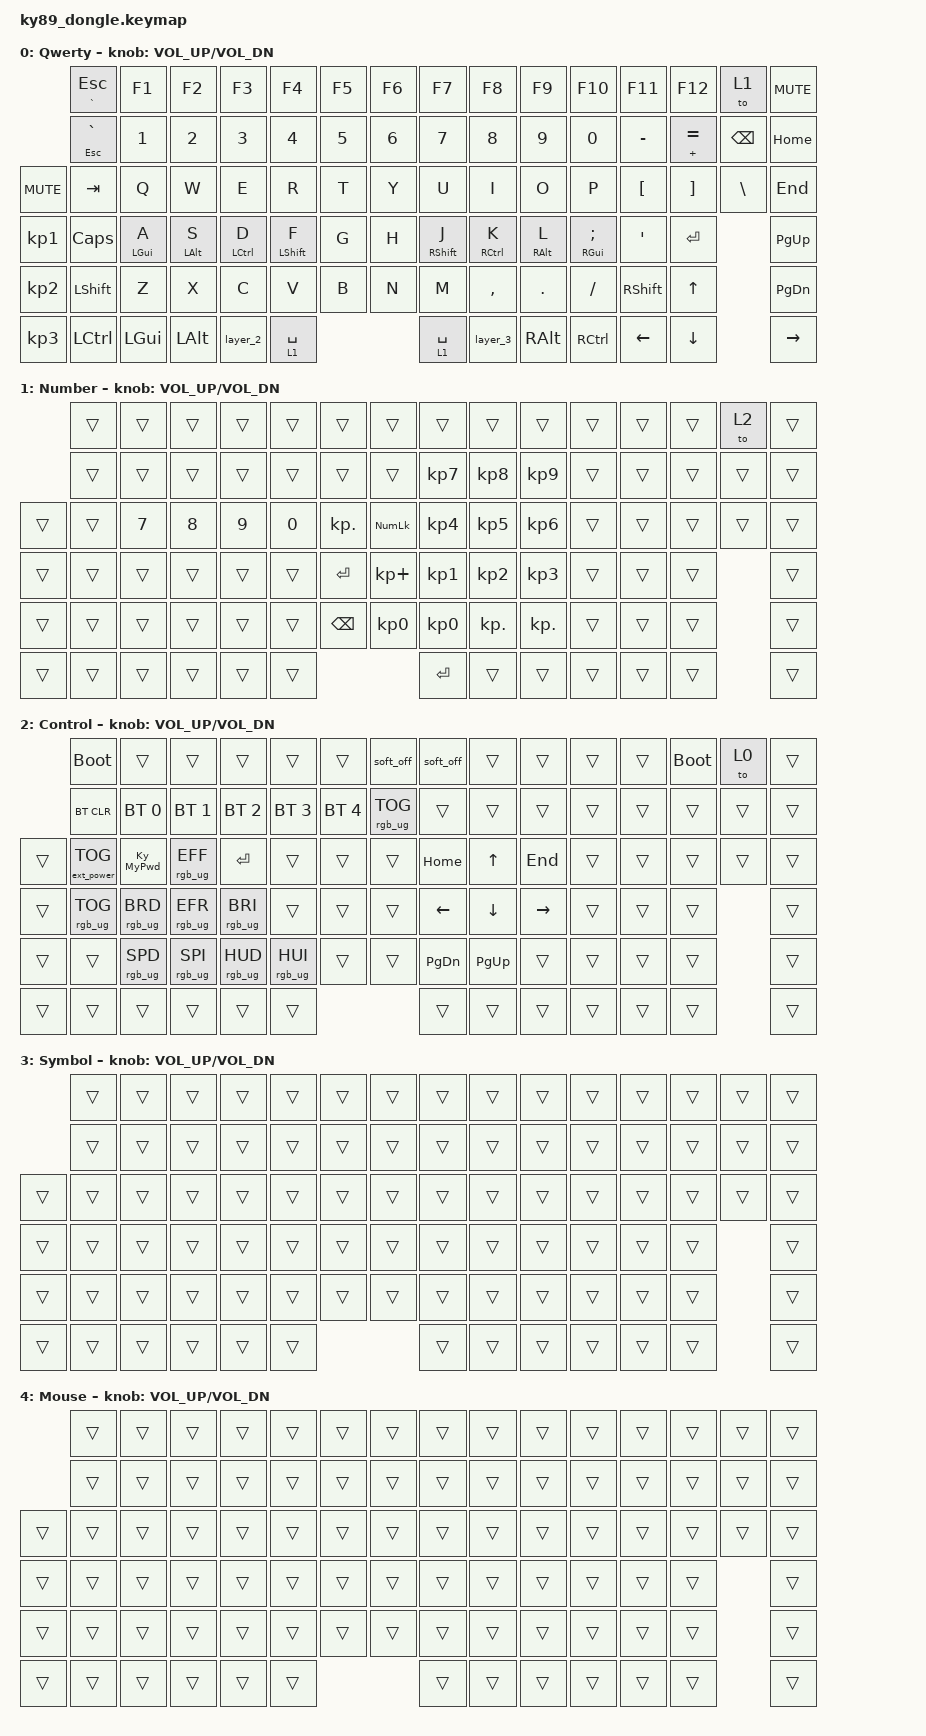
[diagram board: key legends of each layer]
/*
 * Copyright (c) 2023 The ZMK Contributors
 *
 * SPDX-License-Identifier: MIT
 */

#include <behaviors.dtsi>
#include <dt-bindings/zmk/keys.h>
#include <dt-bindings/zmk/bt.h>
#include <dt-bindings/zmk/ext_power.h>
#include <dt-bindings/zmk/rgb.h>

/ {

    macros {

        Ky_MyPwd: Ky_MyPwd {
            label = "Ky_MyPwd";
            compatible = "zmk,behavior-macro";
            #binding-cells = <0>;
            wait-ms = <0>;
            tap-ms = <0>;
            bindings =
                <&kp N0>,
                <&kp N1>,
                <&kp N2>,
                <&kp N3>,
                <&kp N4>,
                <&kp N5>;
        };

        
        layer_1: layer_1 {
            label = "layer 1";
            compatible = "zmk,behavior-macro";
            #binding-cells = <0>;
            wait-ms = <0>;
            tap-ms = <0>;
            bindings =
                <&macro_press>,
                <&ltq 1 SPACE>,
                <&macro_tap>,
                <&rgb_ug RGB_COLOR_HSB(0,100,100)>,
                <&macro_pause_for_release>,
                <&macro_release>,
                <&lt 1 SPACE>,
                <&macro_tap>,
                <&rgb_ug RGB_COLOR_HSB(180,40,70)>;
        };

        layer_2: layer_2 {
            label = "layer 2";
            compatible = "zmk,behavior-macro";
            #binding-cells = <0>;
            wait-ms = <0>;
            tap-ms = <0>;
            bindings =
                <&macro_press>,
                <&ltq 2 DEL>,
                <&macro_tap>,
                <&rgb_ug RGB_COLOR_HSB(120,100,100)>,
                <&macro_pause_for_release>,
                <&macro_release>,
                <&ltq 2 DEL>,
                <&macro_tap>,
                <&rgb_ug RGB_COLOR_HSB(180,40,70)>;
        };

        layer_3: layer_3 {
            label = "layer 3";
            compatible = "zmk,behavior-macro";
            #binding-cells = <0>;
            wait-ms = <0>;
            tap-ms = <0>;
            bindings =
                <&macro_press>,
                <&ltq 3 INS>,
                <&macro_tap>,
                <&rgb_ug RGB_COLOR_HSB(0,100,50)>,
                <&macro_pause_for_release>,
                <&macro_release>,
                <&ltq 3 INS>,
                <&macro_tap>,
                <&rgb_ug RGB_COLOR_HSB(180,40,70)>;
        };

        layer_4: layer_4 {
            label = "layer 4";
            compatible = "zmk,behavior-macro";
            #binding-cells = <0>;
            wait-ms = <0>;
            tap-ms = <0>;
            bindings =
                <&macro_press>,
                <&lt 4 T>,
                <&macro_tap>,
                <&rgb_ug RGB_COLOR_HSB(60,100,100)>,
                <&macro_pause_for_release>,
                <&macro_release>,
                <&lt 4 T>,
                <&macro_tap>,
                <&rgb_ug RGB_COLOR_HSB(180,40,70)>;
        };
        layer_5: layer_5 {
            label = "layer 5";
            compatible = "zmk,behavior-macro";
            #binding-cells = <0>;
            wait-ms = <0>;
            tap-ms = <0>;
            bindings =
                <&macro_press>,
                <&lt 5 T>,
                <&macro_tap>,
                <&rgb_ug RGB_COLOR_HSB(300,100,100)>,
                <&macro_pause_for_release>,
                <&macro_release>,
                <&lt 5 T>,
                <&macro_tap>,
                <&rgb_ug RGB_COLOR_HSB(180,40,70)>;
        };
        layer_6: layer_6 {
            label = "layer 6";
            compatible = "zmk,behavior-macro";
            #binding-cells = <0>;
            wait-ms = <0>;
            tap-ms = <0>;
            bindings =
                <&macro_press>,
                <&lt 6 T>,
                <&macro_tap>,
                <&rgb_ug RGB_COLOR_HSB(180,100,100)>,
                <&macro_pause_for_release>,
                <&macro_release>,
                <&lt 6 T>,
                <&macro_tap>,
                <&rgb_ug RGB_COLOR_HSB(180,40,70)>;
        };
    };

    behaviors {
        hm: homerow_mods {
            compatible = "zmk,behavior-hold-tap";
            #binding-cells = <2>;
            tapping-term-ms = <200>;
            quick-tap-ms = <0>;
            flavor = "tap-preferred";
            bindings = <&kp>, <&kp>;
            label = "HOMEROW_MODS";
        };

        ltq: ltq {
            compatible = "zmk,behavior-hold-tap";
            label = "LTQ";
            bindings = <&mo>, <&kp>;

            #binding-cells = <2>;
            tapping-term-ms = <200>;
            quick-tap-ms = <180>;
        };

        as: auto_shift {
            compatible = "zmk,behavior-hold-tap";
            #binding-cells = <2>;
            tapping-term-ms = <200>;
            quick-tap-ms = <0>;
            label = "AUTO_SHIFT";
            flavor = "tap-preferred";
            bindings = <&kp>, <&kp>;
        };

        rgb_encoder: rgb_encoder {
            compatible = "zmk,behavior-sensor-rotate";
            label = "RGB_ENCODER";
            #sensor-binding-cells = <0>;
            bindings = <&rgb_ug RGB_BRI>, <&rgb_ug RGB_BRD>;
        };
    };

    combos {
        compatible = "zmk,combos";

        esc {
            bindings = <&kp ESCAPE>;
            key-positions = <0 1>;
        };

        left_bkt {
            bindings = <&kp LEFT_BRACKET>;
            key-positions = <3 4>;
        };

        right_bkt {
            bindings = <&kp RIGHT_BRACKET>;
            key-positions = <9 8>;
        };

        left_par {
            bindings = <&kp LEFT_PARENTHESIS>;
            key-positions = <16 17>;
        };

        right_par {
            bindings = <&kp RIGHT_PARENTHESIS>;
            key-positions = <21 22>;
        };

        left_brace {
            bindings = <&kp LEFT_BRACE>;
            key-positions = <29 30>;
        };

        right_brace {
            bindings = <&kp RIGHT_BRACE>;
            key-positions = <34 35>;
        };

        bac {
            bindings = <&kp NON_US_BACKSLASH>;
            key-positions = <5 7>;
        };

        pipe {
            bindings = <&kp PIPE>;
            key-positions = <18 20>;
        };
    };

    keymap {
        compatible = "zmk,keymap";

        qwerty_layer {
//  ---------------------------------------------------------------------------------
//  |      |as GRAVE ESC|F1      |F2      |F3       |F4         |F5  |F6  |    |F7  |F8         |F9       |F10     |F11        |F12         |&to 1|    |C_MUTE|
//  |      |as ESC GRAVE|N1      |N2      |N3       |N4         |N5  |N6  |    |N7  |N8         |N9       |N0      |MINUS      |A_PLUS EQUAL|BSPC |    |HOME  |
//  |C_MUTE|TAB         |Q       |W       |E        |R          |T   |    |    |Y   |U          |I        |O       |P          |LBKT        |RBKT |BSLH|END   |
//  |1     |CAPS        |H_LGUI A|H_LALT S|H_LCTRL D|H_LSHF F   |G   |    |    |H   |H_RSHF J   |H_RCTRL K|H_RALT L|H_RGUI SEMI|SQT         |ENTER|    |PG_UP |
//  |2     |LSHIFT      |Z       |X       |C        |V          |B   |    |    |N   |M          |COMMA    |DOT     |FSLH       |RSHIFT      |UP   |    |PG_DN |
//  |3     |LCTRL       |LGUI    |LALT    |&lt 2 DEL|&lt 1 SPACE|    |    |    |    |&lt 1 SPACE|&lt 3 INS|RALT    |RCTRL      |LEFT        |DOWN |    |RIGHT |



            bindings = <
            &as GRAVE ESC  &kp F1      &kp F2      &kp F3       &kp F4       &kp F5  &kp F6          &kp F7  &kp F8       &kp F9       &kp F10     &kp F11        &kp F12         &to 1                &kp C_MUTE  
            &as ESC GRAVE  &kp N1      &kp N2      &kp N3       &kp N4       &kp N5  &kp N6          &kp N7  &kp N8       &kp N9       &kp N0      &kp MINUS      &as PLUS EQUAL  &kp BSPC             &kp HOME    
&kp C_MUTE  &kp TAB       &kp Q       &kp W       &kp E        &kp R        &kp T                   &kp Y   &kp U        &kp I        &kp O       &kp P          &kp LBKT        &kp RBKT   &kp BSLH  &kp END     
&kp KP_N1   &kp CAPS      &hm LGUI A  &hm LALT S  &hm LCTRL D  &hm LSHFT F   &kp G                   &kp H   &hm RSHFT J   &hm RCTRL K  &hm RALT L  &hm RGUI SEMI  &kp SQT         &kp ENTER            &kp PG_UP   &kp KP_N2   &kp LSHIFT    &kp Z       &kp X       &kp C        &kp V        &kp B                   &kp N   &kp M        &kp COMMA    &kp DOT     &kp FSLH       &kp RSHIFT      &kp UP               &kp PG_DN   
&kp KP_N3   &kp LCTRL     &kp LGUI    &kp LALT    &layer_2    &lt 1 SPACE                               &lt 1 SPACE  &layer_3    &kp RALT    &kp RCTRL      &kp LEFT        &kp DOWN             &kp RIGHT   

            >;
            label = "Qwerty";
            sensor-bindings = <&inc_dec_kp C_VOL_UP C_VOL_DN>;
            //sensor-bindings = <&inc_dec_kp C_VOL_UP C_VOL_DN &inc_dec_kp PG_UP PG_DN>;
        };

        layer1_layer {
//  ---------------------------------------------------------------------------------
//  |    |    |    |    |    |    |     |    |    |    |     |    |    |    |    |&to 2|    |    |
//  |    |    |    |    |    |    |     |    |    |7   |8    |9   |    |    |    |     |    |    |
//  |    |    |N7  |N8  |N9  |N0  |DOT  |    |    |NLCK|4    |5   |6   |    |    |     |    |    |
//  |    |    |    |    |    |    |ENTER|    |    |PLUS|1    |2   |3   |    |    |     |    |    |
//  |    |    |    |    |    |    |BSPC |    |    |0   |0    |DOT |DOT |    |    |     |    |    |
//  |    |    |    |    |    |    |     |    |    |    |ENTER|    |    |    |    |     |    |    |



            bindings = <
        &trans  &trans  &trans  &trans  &trans  &trans      &trans          &trans       &trans     &trans      &trans      &trans  &trans  &to 2           &trans  
        &trans  &trans  &trans  &trans  &trans  &trans      &trans          &kp KP_N7    &kp KP_N8  &kp KP_N9   &trans      &trans  &trans  &trans          &trans  
&trans  &trans  &kp N7  &kp N8  &kp N9  &kp N0  &kp KP_DOT                  &kp KP_NLCK  &kp KP_N4  &kp KP_N5   &kp KP_N6   &trans  &trans  &trans  &trans  &trans  
&trans  &trans  &trans  &trans  &trans  &trans  &kp ENTER                   &kp KP_PLUS  &kp KP_N1  &kp KP_N2   &kp KP_N3   &trans  &trans  &trans          &trans  
&trans  &trans  &trans  &trans  &trans  &trans  &kp BSPC                    &kp KP_N0    &kp KP_N0  &kp KP_DOT  &kp KP_DOT  &trans  &trans  &trans          &trans  
&trans  &trans  &trans  &trans  &trans  &trans                                           &kp ENTER  &trans      &trans      &trans  &trans  &trans          &trans  

            >;
            label = "Number";
            sensor-bindings = <&inc_dec_kp C_VOL_UP C_VOL_DN>;
            //sensor-bindings = <&inc_dec_kp C_VOL_UP C_VOL_DN &inc_dec_kp PG_UP PG_DN>;
        };

        layer2_layer {
//  ---------------------------------------------------------------------------------
//  |    |&bootloader|        |        |        |        |        |&soft_off|    |&soft_off|     |     |     |    |&bootloader|&to 0|    |    |
//  |    |BT_CLR     |BT_SEL 0|BT_SEL 1|BT_SEL 2|BT_SEL 3|BT_SEL 4|RGB_TOG  |    |         |     |     |     |    |           |     |    |    |
//  |    |EP_TOG     |Ky_MyPwd|RGB_EFF |ENTER   |        |        |         |    |         |HOME |UP   |END  |    |           |     |    |    |
//  |    |RGB_TOG    |RGB_BRD |RGB_EFR |RGB_BRI |        |        |         |    |         |LEFT |DOWN |RIGHT|    |           |     |    |    |
//  |    |           |RGB_SPD |RGB_SPI |RGB_HUD |RGB_HUI |        |         |    |         |PG_DN|PG_UP|     |    |           |     |    |    |
//  |    |           |        |        |        |        |        |         |    |         |     |     |     |    |           |     |    |    |

            bindings = <
        &bootloader        &trans           &trans           &trans           &trans           &trans        &soft_off                &soft_off  &trans     &trans     &trans     &trans  &bootloader  &to 0           &trans  
        &bt BT_CLR         &bt BT_SEL 0     &bt BT_SEL 1     &bt BT_SEL 2     &bt BT_SEL 3     &bt BT_SEL 4  &rgb_ug RGB_TOG          &trans     &trans     &trans     &trans     &trans  &trans       &trans          &trans  
&trans  &ext_power EP_TOG  &Ky_MyPwd        &rgb_ug RGB_EFF  &kp ENTER        &trans           &trans                                 &trans     &kp HOME   &kp UP     &kp END    &trans  &trans       &trans  &trans  &trans  
&trans  &rgb_ug RGB_TOG    &rgb_ug RGB_BRD  &rgb_ug RGB_EFR  &rgb_ug RGB_BRI  &trans           &trans                                 &trans     &kp LEFT   &kp DOWN   &kp RIGHT  &trans  &trans       &trans          &trans  
&trans  &trans             &rgb_ug RGB_SPD  &rgb_ug RGB_SPI  &rgb_ug RGB_HUD  &rgb_ug RGB_HUI  &trans                                 &trans     &kp PG_DN  &kp PG_UP  &trans     &trans  &trans       &trans          &trans  
&trans  &trans             &trans           &trans           &trans           &trans                                                             &trans     &trans     &trans     &trans  &trans       &trans          &trans  

            >;
            label = "Control";
            sensor-bindings = <&inc_dec_kp C_VOL_UP C_VOL_DN>;
            //sensor-bindings = <&inc_dec_kp C_VOL_UP C_VOL_DN &inc_dec_kp PG_UP PG_DN>;
        };

        layer3_layer {
//  ---------------------------------------------------------------------------------
//  |    |    |    |    |    |    |    |    |    |    |    |    |    |    |    |    |    |    |
//  |    |    |    |    |    |    |    |    |    |    |    |    |    |    |    |    |    |    |
//  |    |    |    |    |    |    |    |    |    |    |    |    |    |    |    |    |    |    |
//  |    |    |    |    |    |    |    |    |    |    |    |    |    |    |    |    |    |    |
//  |    |    |    |    |    |    |    |    |    |    |    |    |    |    |    |    |    |    |
//  |    |    |    |    |    |    |    |    |    |    |    |    |    |    |    |    |    |    |


            bindings = <
        &trans  &trans  &trans  &trans  &trans  &trans  &trans          &trans  &trans  &trans  &trans  &trans  &trans  &trans          &trans  
        &trans  &trans  &trans  &trans  &trans  &trans  &trans          &trans  &trans  &trans  &trans  &trans  &trans  &trans          &trans  
&trans  &trans  &trans  &trans  &trans  &trans  &trans                  &trans  &trans  &trans  &trans  &trans  &trans  &trans  &trans  &trans  
&trans  &trans  &trans  &trans  &trans  &trans  &trans                  &trans  &trans  &trans  &trans  &trans  &trans  &trans          &trans  
&trans  &trans  &trans  &trans  &trans  &trans  &trans                  &trans  &trans  &trans  &trans  &trans  &trans  &trans          &trans  
&trans  &trans  &trans  &trans  &trans  &trans                                  &trans  &trans  &trans  &trans  &trans  &trans          &trans  

            >;
            label = "Symbol";
            sensor-bindings = <&inc_dec_kp C_VOL_UP C_VOL_DN>;
            //sensor-bindings = <&inc_dec_kp C_VOL_UP C_VOL_DN &inc_dec_kp PG_UP PG_DN>;
        };

        layer4_layer {
//  ---------------------------------------------------------------------------------
//  |    |    |    |    |    |    |    |    |    |    |    |    |    |    |    |    |    |    |
//  |    |    |    |    |    |    |    |    |    |    |    |    |    |    |    |    |    |    |
//  |    |    |    |    |    |    |    |    |    |    |    |    |    |    |    |    |    |    |
//  |    |    |    |    |    |    |    |    |    |    |    |    |    |    |    |    |    |    |
//  |    |    |    |    |    |    |    |    |    |    |    |    |    |    |    |    |    |    |
//  |    |    |    |    |    |    |    |    |    |    |    |    |    |    |    |    |    |    |

            bindings = <
        &trans  &trans  &trans  &trans  &trans  &trans  &trans          &trans  &trans  &trans  &trans  &trans  &trans  &trans          &trans  
        &trans  &trans  &trans  &trans  &trans  &trans  &trans          &trans  &trans  &trans  &trans  &trans  &trans  &trans          &trans  
&trans  &trans  &trans  &trans  &trans  &trans  &trans                  &trans  &trans  &trans  &trans  &trans  &trans  &trans  &trans  &trans  
&trans  &trans  &trans  &trans  &trans  &trans  &trans                  &trans  &trans  &trans  &trans  &trans  &trans  &trans          &trans  
&trans  &trans  &trans  &trans  &trans  &trans  &trans                  &trans  &trans  &trans  &trans  &trans  &trans  &trans          &trans  
&trans  &trans  &trans  &trans  &trans  &trans                                  &trans  &trans  &trans  &trans  &trans  &trans          &trans  

            >;
            label = "Mouse";
            sensor-bindings = <&inc_dec_kp C_VOL_UP C_VOL_DN>;
            //sensor-bindings = <&inc_dec_kp C_VOL_UP C_VOL_DN &inc_dec_kp PG_UP PG_DN>;
        };
    };
};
